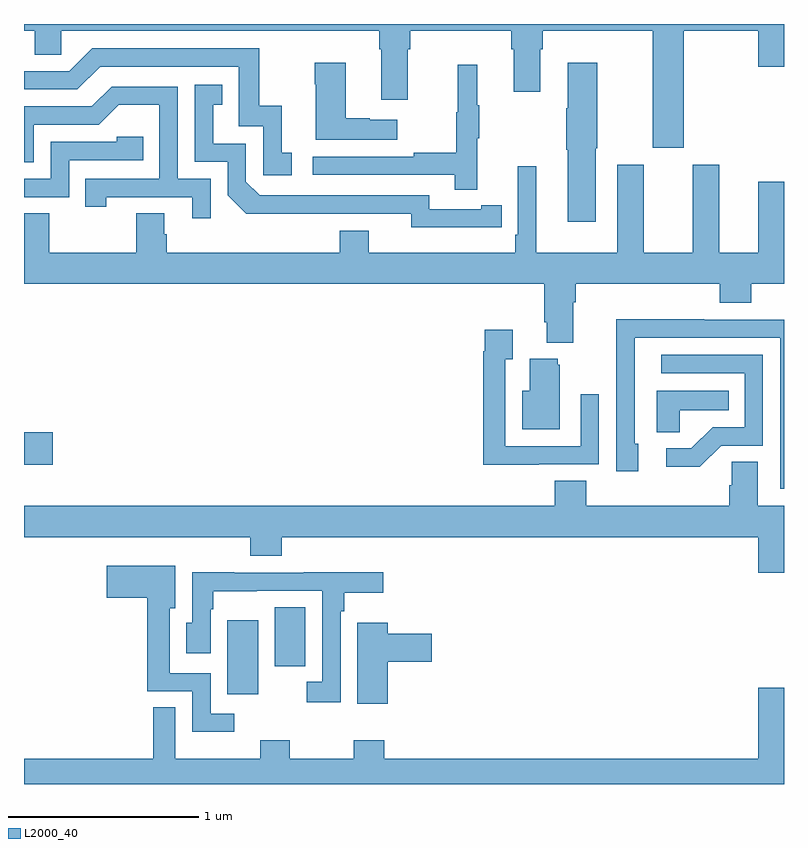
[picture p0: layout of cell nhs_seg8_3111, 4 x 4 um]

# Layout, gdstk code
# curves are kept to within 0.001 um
import gdstk
lib = gdstk.Library(unit=1e-6, precision=1e-09)
def R(c, l, rs):  # rectangles x0, y0, x1, y1
    for r in rs: c.add(gdstk.rectangle(r[:2], r[2:], *l))
def P(c, l, *ps):  # polygons
    for p in ps: c.add(gdstk.Polygon(p, *l))
L2000_40 = (2000, 40)

nhs_seg8_3111 = lib.new_cell('nhs_seg8_3111')
R(nhs_seg8_3111, L2000_40, [(306.071,1082.372,306.232,1082.761), (306.32,1082.52,306.481,1082.831), (305,1083.581,305.152,1083.752)])
P(nhs_seg8_3111, L2000_40, [(308.473,1085.864),(308.864,1085.864),(308.864,1085.676),(309,1085.676),(309,1085.9),(305,1085.9),(305,1085.864),(305.057,1085.864),(305.057,1085.737),(305.196,1085.737),(305.196,1085.864),(306.869,1085.864),(306.869,1085.768),(306.881,1085.768),(306.881,1085.502),(307.021,1085.502),(307.021,1085.768),(307.034,1085.768),(307.034,1085.864),(307.565,1085.864),(307.565,1085.768),(307.577,1085.768),(307.577,1085.544),(307.717,1085.544),(307.717,1085.768),(307.73,1085.768),(307.73,1085.864),(308.309,1085.864),(308.309,1085.25),(308.473,1085.25)],
  [(306.409,1085.223),(306.356,1085.223),(306.356,1085.47),(306.238,1085.47),(306.238,1085.772),(305.358,1085.772),(305.238,1085.652),(305,1085.652),(305,1085.556),(305.28,1085.556),(305.4,1085.676),(306.129,1085.676),(306.129,1085.361),(306.258,1085.361),(306.258,1085.103),(306.409,1085.103)],
  [(306.964,1085.395),(306.821,1085.395),(306.821,1085.405),(306.694,1085.405),(306.694,1085.695),(306.529,1085.695),(306.529,1085.582),(306.536,1085.582),(306.536,1085.291),(306.964,1085.291)],
  [(308.008,1085.245),(308.016,1085.245),(308.016,1085.695),(307.862,1085.695),(307.862,1085.456),(307.855,1085.456),(307.855,1085.239),(307.862,1085.239),(307.862,1084.86),(308.008,1084.86)],
  [(307.385,1085.299),(307.396,1085.299),(307.396,1085.473),(307.385,1085.473),(307.385,1085.686),(307.282,1085.686),(307.282,1085.436),(307.275,1085.436),(307.275,1085.222),(307.051,1085.222),(307.051,1085.202),(306.519,1085.202),(306.519,1085.106),(307.267,1085.106),(307.267,1085.028),(307.385,1085.028)],
  [(307.406,1084.83),(307.514,1084.83),(307.514,1084.946),(307.406,1084.946),(307.406,1084.926),(307.134,1084.926),(307.134,1084.998),(306.24,1084.998),(306.168,1085.07),(306.168,1085.271),(305.995,1085.271),(305.995,1085.475),(306.044,1085.475),(306.044,1085.581),(305.898,1085.581),(305.898,1085.175),(306.072,1085.175),(306.072,1084.998),(306.17,1084.901),(307.038,1084.902),(307.038,1084.829)],
  [(305.982,1085.085),(305.808,1085.085),(305.808,1085.571),(305.462,1085.571),(305.357,1085.466),(305,1085.466),(305,1085.172),(305.052,1085.172),(305.052,1085.37),(305.394,1085.37),(305.498,1085.474),(305.712,1085.474),(305.712,1085.085),(305.323,1085.085),(305.323,1084.938),(305.434,1084.938),(305.434,1084.989),(305.885,1084.989),(305.885,1084.878),(305.982,1084.878)],
  [(305.238,1085.184),(305.627,1085.184),(305.627,1085.307),(305.487,1085.307),(305.487,1085.28),(305.142,1085.28),(305.142,1085.085),(305,1085.085),(305,1084.989),(305.238,1084.989)],
  [(307.891,1084.436),(307.904,1084.436),(307.904,1084.532),(308.663,1084.532),(308.663,1084.433),(308.828,1084.433),(308.828,1084.532),(309,1084.532),(309,1085.071),(308.864,1085.071),(308.864,1084.696),(308.659,1084.696),(308.659,1085.158),(308.519,1085.158),(308.519,1084.696),(308.263,1084.696),(308.263,1085.158),(308.123,1085.158),(308.123,1084.696),(307.696,1084.696),(307.696,1085.152),(307.599,1085.152),(307.599,1084.792),(307.586,1084.792),(307.586,1084.696),(306.814,1084.696),(306.814,1084.813),(306.662,1084.813),(306.662,1084.696),(305.75,1084.696),(305.75,1084.794),(305.737,1084.794),(305.737,1084.904),(305.59,1084.904),(305.59,1084.696),(305.133,1084.696),(305.133,1084.904),(305,1084.904),(305,1084.532),(307.739,1084.532),(307.739,1084.33),(307.751,1084.33),(307.751,1084.223),(307.891,1084.223)],
  [(309,1084.344),(308.579,1084.344),(308.579,1084.346),(308.116,1084.346),(308.116,1084.039),(308.118,1084.039),(308.118,1083.546),(308.233,1083.546),(308.233,1083.69),(308.214,1083.69),(308.214,1084.248),(308.979,1084.248),(308.979,1083.453),(309,1083.453)],
  [(307.709,1083.582),(308.025,1083.582),(308.025,1083.952),(307.929,1083.952),(307.929,1083.678),(307.533,1083.678),(307.533,1084.135),(307.573,1084.135),(307.573,1084.291),(307.425,1084.291),(307.425,1084.178),(307.417,1084.178),(307.417,1083.581),(307.709,1083.581)],
  [(308.67,1083.681),(308.889,1083.681),(308.889,1084.158),(308.355,1084.158),(308.355,1084.062),(308.793,1084.062),(308.793,1083.777),(308.624,1083.777),(308.513,1083.666),(308.379,1083.666),(308.379,1083.569),(308.557,1083.569)],
  [(307.819,1084.107),(307.808,1084.107),(307.808,1084.138),(307.661,1084.138),(307.661,1083.97),(307.622,1083.97),(307.622,1083.767),(307.819,1083.767)],
  [(308.451,1083.866),(308.708,1083.866),(308.708,1083.97),(308.33,1083.97),(308.33,1083.751),(308.451,1083.751)],
  [(309,1083.364),(308.863,1083.364),(308.863,1083.596),(308.724,1083.596),(308.724,1083.473),(308.711,1083.473),(308.711,1083.364),(307.958,1083.364),(307.958,1083.497),(307.793,1083.497),(307.793,1083.364),(305,1083.364),(305,1083.2),(306.191,1083.2),(306.191,1083.101),(306.356,1083.101),(306.356,1083.2),(308.864,1083.2),(308.864,1083.012),(309,1083.012)],
  [(306.106,1082.271),(305.982,1082.271),(305.982,1082.484),(305.767,1082.484),(305.767,1082.825),(305.797,1082.825),(305.797,1083.049),(305.436,1083.049),(305.436,1082.879),(305.649,1082.879),(305.649,1082.388),(305.886,1082.388),(305.886,1082.174),(306.106,1082.174)],
  [(306.666,1082.81),(306.686,1082.81),(306.686,1082.906),(306.892,1082.906),(306.892,1083.014),(306.473,1083.014),(306.473,1083.012),(306.107,1083.012),(306.107,1083.014),(305.886,1083.014),(305.886,1082.748),(305.855,1082.748),(305.855,1082.589),(305.982,1082.589),(305.982,1082.819),(305.995,1082.819),(305.995,1082.915),(306.224,1082.915),(306.224,1082.916),(306.57,1082.916),(306.57,1082.439),(306.489,1082.439),(306.489,1082.331),(306.666,1082.331)],
  [(306.914,1082.543),(307.147,1082.543),(307.147,1082.69),(306.914,1082.69),(306.914,1082.749),(306.755,1082.749),(306.755,1082.322),(306.914,1082.322)],
  [(309,1082.407),(308.864,1082.407),(308.864,1082.032),(306.896,1082.032),(306.896,1082.131),(306.736,1082.131),(306.736,1082.032),(306.399,1082.032),(306.399,1082.131),(306.244,1082.131),(306.244,1082.032),(305.797,1082.032),(305.797,1082.303),(305.679,1082.303),(305.679,1082.032),(305,1082.032),(305,1081.9),(309,1081.9)])

lib.write_gds('nhs_seg8_3111.gds')
